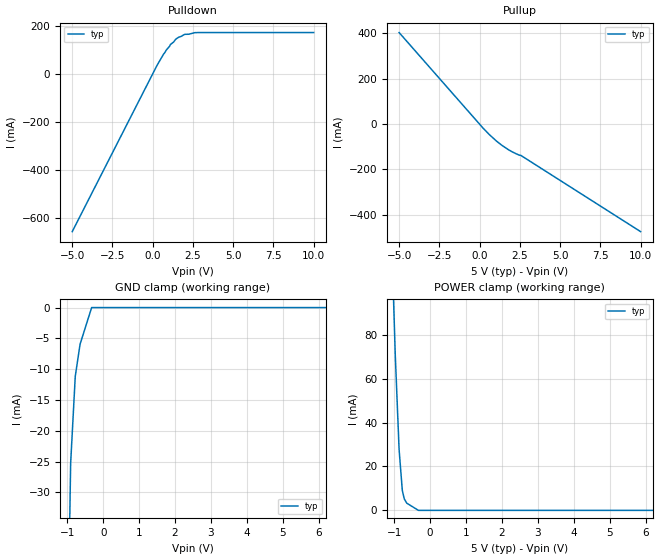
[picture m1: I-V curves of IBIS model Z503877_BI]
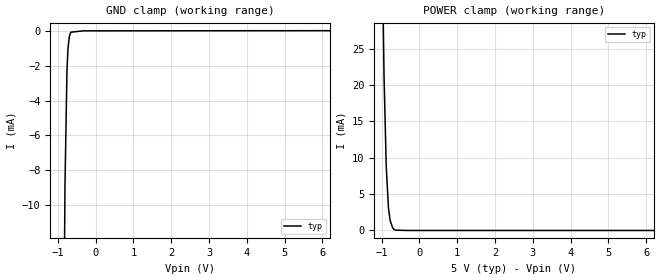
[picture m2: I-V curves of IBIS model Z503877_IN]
| YOU ARE ONLY AUTHORIZED TO USE THIS SOFTWARE
| ACCORDING TO LICENSOR'S LICENSE RESTRICTIONS.
[IBIS Ver] 3.1
[File Name] mc74act623dw.ibs
[File Rev] 2.0
[Source] Measured and created by ICX Technology
[Date] Friday 7/14/00 9:08:02 AM
[Copyright]
| (C) COPYRIGHT 1993-2000
| MENTOR GRAPHICS CORPORATION
| ICX STANDARD LIBRARY, ICX PROJECT MODELING,
| ICX CUSTOM MODELING, ICX VENDOR MODEL
| ALL RIGHTS RESERVED.
| THE FOLLOWING ARE TRADEMARKS OR SERVICE MARKS OF
| MENTOR GRAPHICS CORPORATION:ICX (R), ICX STANDARD
| LIBRARY(R), ICX PROJECT MODELING(R), ICX CUSTOM
| MODELING(R), qualityIBIS(TM), MODELVIEWER(TM),
| AND MODELEDITOR(TM)
| ALL COPIES OF SOFTWARE, INCLUDING BUT NOT LIMITED TO
| ANY MODIFICATIONS, ENHANCEMENTS OR DERIVATIVE WORKS,
| MUST CONTAIN ALL MENTOR GRAPHICS CORPORATION'S
| NOTICES AND LEGENDS, INCLUDING THOSE EMBEDDED IN
| SOFTWARE AND THOSE AFFIXED TO SOFTWARE MEDIUM
| AND CONTAINER, AS RECEIVED FROM MENTOR GRAPHICS
| CORPORATION.
|  ZAP Model Builder 2.7
[Component] MC74ACT623DW
[Manufacturer] OnSemiconductor
[Package]
| variable   typ   min   max
R_pkg  .216ohms NA NA
L_pkg  5.76nH NA NA
C_pkg  1.29pF NA NA
[Pin] signal_name  model_name  R_pin  L_pin C_pin
1 GAB Z503877_IN .232 9.76n 1.87p
2 A0 Z503877_BI .224 7.26n 1.58p
3 A1 Z503877_BI .216 5.26n 1.29p
4 A2 Z503877_BI .208 3.76n 1.0p
5 A3 Z503877_BI .2 2.76n .71p
6 A4 Z503877_BI .2 2.76n .71p
7 A5 Z503877_BI .208 3.76n 1.0p
8 A6 Z503877_BI .216 5.26n 1.29p
9 A7 Z503877_BI .224 7.26n 1.58p
10 GROUND GND .232 9.76n 1.87p
11 B7 Z503877_BI .232 9.76n 1.87p
12 B6 Z503877_BI .224 7.26n 1.58p
13 B5 Z503877_BI .216 5.26n 1.29p
14 B4 Z503877_BI .208 3.76n 1.0p
15 B3 Z503877_BI .2 2.76n .71p
16 B2 Z503877_BI .2 2.76n .71p
17 B1 Z503877_BI .208 3.76n 1.0p
18 B0 Z503877_BI .216 5.26n 1.29p
19 _GBA Z503877_IN .224 7.26n 1.58p
20 VCC POWER .232 9.76n 1.87p
| Models and submodels in the file (2): Z503877_BI (I/O), Z503877_IN (Input)
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| (C) COPYRIGHT 1993-2000
| MENTOR GRAPHICS CORPORATION
| ICX STANDARD LIBRARY, ICX PROJECT MODELING,
| ICX CUSTOM MODELING, ICX VENDOR MODEL
| ALL RIGHTS RESERVED.
| THE FOLLOWING ARE TRADEMARKS OR SERVICE MARKS OF
| MENTOR GRAPHICS CORPORATION:ICX (R), ICX STANDARD
| LIBRARY(R), ICX PROJECT MODELING(R), ICX CUSTOM
| MODELING(R), qualityIBIS(TM), MODELVIEWER(TM),
| AND MODELEDITOR(TM)
| ALL COPIES OF SOFTWARE, INCLUDING BUT NOT LIMITED TO
| ANY MODIFICATIONS, ENHANCEMENTS OR DERIVATIVE WORKS,
| MUST CONTAIN ALL MENTOR GRAPHICS CORPORATION'S
| NOTICES AND LEGENDS, INCLUDING THOSE EMBEDDED IN
| SOFTWARE AND THOSE AFFIXED TO SOFTWARE MEDIUM
| AND CONTAINER, AS RECEIVED FROM MENTOR GRAPHICS
| CORPORATION.
| Model Application Version 1.89 2/18/99.
[Model] Z503877_BI
Model_type I/O
Vinl=800.0mV
Vinh=2.000V
Vref=0.000V
Rref=500.0ohms
Cref=50.00pF
Vmeas=1.500V
C_comp 8.000pF NA NA
| variable typ   min   max
[Voltage Range] 5.000V NA NA
[POWER Clamp Reference] 5.000V NA NA
[Pullup Reference] 5.000V NA NA
[Pulldown Reference] 0.000V NA NA
[GND Clamp Reference] 0.000V NA NA
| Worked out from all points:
|   slope of the pulldown table from 0 to 0.75 V, typ, clamps not added: 8.51 ohm
|   slope of the pullup table from 0 to 0.75 V, typ, clamps not added: 13.6 ohm
[GND Clamp]
-5V       -1.519A    NA         NA
-907.9mV  -25.33mA   NA         NA
-779.2mV  -11.17mA   NA         NA
-645.7mV  -5.96mA    NA         NA
-322.8mV  0A         NA         NA
10V       0A         NA         NA
[Pulldown]
-5V       -658.5mA   NA         NA
264.4mV   34.17mA    NA         NA
839mV     97.97mA    NA         NA
1.049V    114.3mA    NA         NA
1.099V    121.4mA    NA         NA
1.308V    132.5mA    NA         NA
1.416V    142.5mA    NA         NA
1.958V    163mA      NA         NA
2.612V    170.8mA    NA         NA
10V       171.3mA    NA         NA
[Pullup]
-5V       402.5mA    NA         NA
215mV     -18.05mA   NA         NA
1.06V     -75.77mA   NA         NA
1.8V      -113.4mA   NA         NA
2.561V    -138.1mA   NA         NA
10V       -473.5mA   NA         NA
[POWER Clamp]
-5V       2.193A     NA         NA
-971mV    71.11mA    NA         NA
-864mV    27.79mA    NA         NA
-774mV    9.043mA    NA         NA
-719mV    5.208mA    NA         NA
-649mV    3.263mA    NA         NA
-324.5mV  0A         NA         NA
10V       0A         NA         NA
[Ramp]
| variable typ min max
dV/dt_r 2.930/854.1p NA NA
dV/dt_f 2.930/611.9p NA NA
R_load = 500.0Ohms
| (C) COPYRIGHT 1993-2000
| MENTOR GRAPHICS CORPORATION
| ICX STANDARD LIBRARY, ICX PROJECT MODELING,
| ICX CUSTOM MODELING, ICX VENDOR MODEL
| ALL RIGHTS RESERVED.
| THE FOLLOWING ARE TRADEMARKS OR SERVICE MARKS OF
| MENTOR GRAPHICS CORPORATION:ICX (R), ICX STANDARD
| LIBRARY(R), ICX PROJECT MODELING(R), ICX CUSTOM
| MODELING(R), qualityIBIS(TM), MODELVIEWER(TM),
| AND MODELEDITOR(TM)
| ALL COPIES OF SOFTWARE, INCLUDING BUT NOT LIMITED TO
| ANY MODIFICATIONS, ENHANCEMENTS OR DERIVATIVE WORKS,
| MUST CONTAIN ALL MENTOR GRAPHICS CORPORATION'S
| NOTICES AND LEGENDS, INCLUDING THOSE EMBEDDED IN
| SOFTWARE AND THOSE AFFIXED TO SOFTWARE MEDIUM
| AND CONTAINER, AS RECEIVED FROM MENTOR GRAPHICS
| CORPORATION.
| Model Application Version 1.89 2/18/99.
[Model] Z503877_IN
Model_type Input
Vinl = 800.0mV
Vinh = 2.000V
C_comp 4.000pF NA NA
| variable typ   min   max
[Voltage Range] 5.000V NA NA
[GND Clamp Reference] 0.000V NA NA
[POWER Clamp Reference] 5.000V NA NA
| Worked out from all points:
|   GND clamp passes 1 mA (typ) near -0.73 V on its own axis
|   POWER clamp passes 1 mA (typ) near -0.75 V on its own axis
[GND Clamp]
-5V       -1.177A    NA         NA
-810.6mV  -8.811mA   NA         NA
-759.1mV  -2.336mA   NA         NA
-732.5mV  -1.028mA   NA         NA
-695.4mV  -316.8uA   NA         NA
-658.8mV  -77.34uA   NA         NA
-329.4mV  1.342uA    NA         NA
10V       17uA       NA         NA
[POWER Clamp]
-5V       1.494A     NA         NA
-935mV    21.13mA    NA         NA
-877mV    8.824mA    NA         NA
-818mV    3.056mA    NA         NA
-772mV    1.33mA     NA         NA
-703mV    317.6uA    NA         NA
-665mV    122.9uA    NA         NA
-628mV    40.27uA    NA         NA
-314mV    0A         NA         NA
10V       0A         NA         NA
